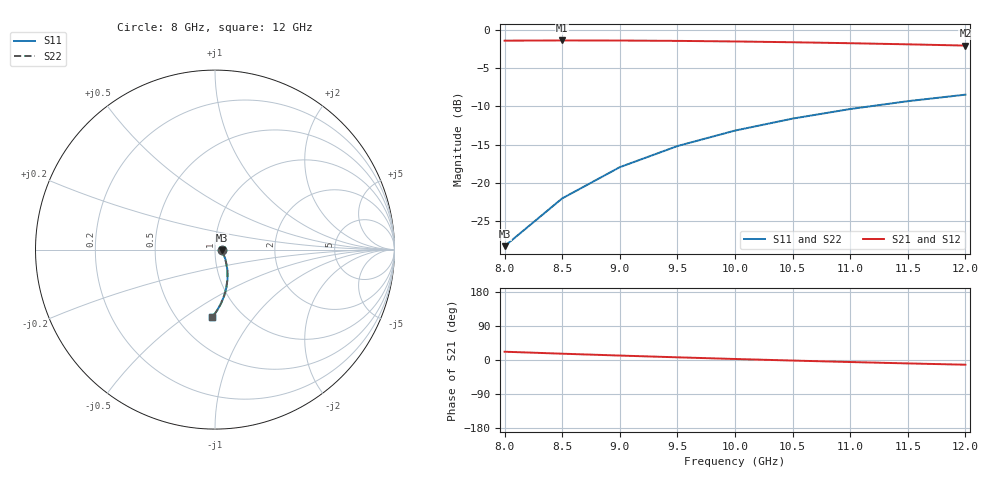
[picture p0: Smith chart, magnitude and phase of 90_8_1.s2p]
! Created Thu Oct 22 17:02:58 2020
# hz S ma R 50
! 2 Port Network Data from SP1.SP block
! freq  magS11  angS11  magS21  angS21  magS12  angS12  magS22  angS22
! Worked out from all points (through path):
!   9 points, 8 GHz to 12 GHz, reference 50 ohm
!   highest |S21| = -1.38 dB at 8.5 GHz (marker M1); lowest = -2.0 dB at 12 GHz (marker M2)
!   lowest |S11| = -28.2 dB at 8 GHz (marker M3), VSWR 1.08, Z = 54 - j0.368 ohm
!   |S11| at or under -10 dB: start of sweep to 11.16 GHz
!   |S22| runs from -28.2 to -8.5 dB; largest |S21 - S12| = 0
8e9  0.03875 -5.0  0.8507 21.8  0.8507 21.8  0.03877 -5.0
8.5e9  0.07947 -43.0  0.8533 16.6  0.8533 16.6  0.07949 -43.0
9e9  0.127 -57.4  0.8523 11.7  0.8523 11.7  0.1271 -57.4
9.5e9  0.1745 -66.4  0.8479 7.1  0.8479 7.1  0.1745 -66.4
1e10  0.2202 -73.2  0.8405 2.7  0.8405 2.7  0.2202 -73.2
1.05e10  0.2636 -78.9  0.8306 -1.5  0.8306 -1.5  0.2636 -78.9
1.1e10  0.3044 -83.9  0.8187 -5.4  0.8187 -5.4  0.3045 -83.9
1.15e10  0.3425 -88.4  0.8051 -9.0  0.8051 -9.0  0.3425 -88.4
1.2e10  0.3778 -92.5  0.7902 -12.4  0.7902 -12.4  0.3778 -92.5
